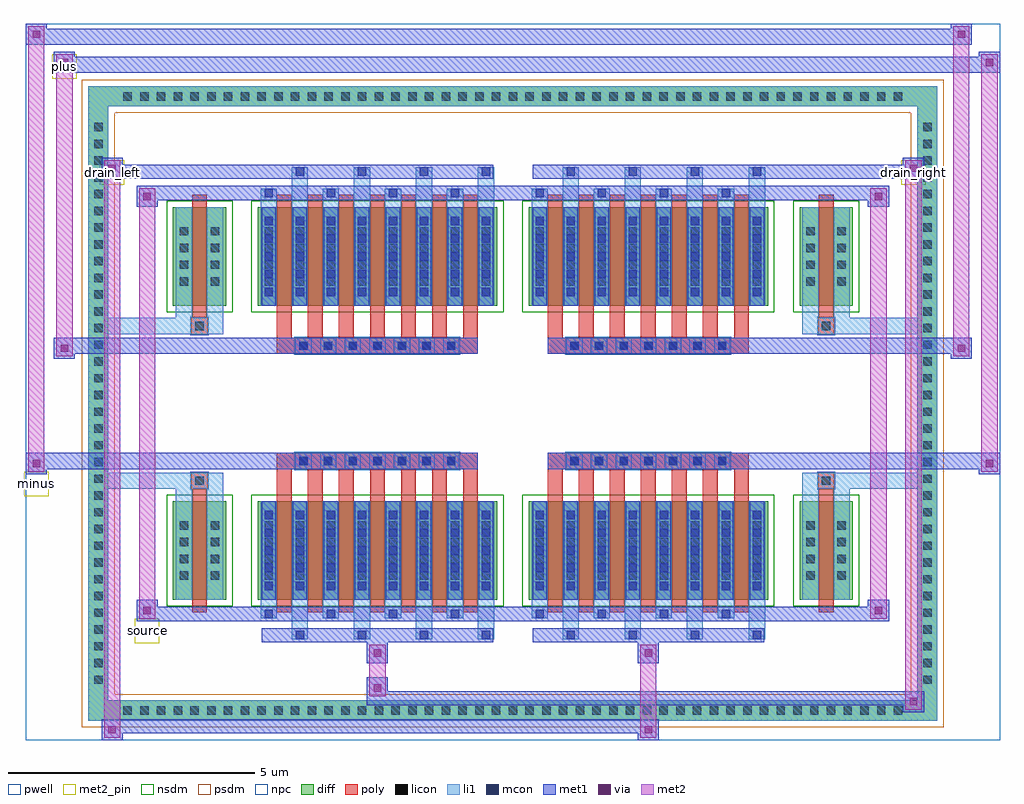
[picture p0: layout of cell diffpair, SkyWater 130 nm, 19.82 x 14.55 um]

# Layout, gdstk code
import gdstk
lib = gdstk.Library(unit=1e-6, precision=5e-09)
def R(c, l, rs):  # rectangles x0, y0, x1, y1
    for r in rs: c.add(gdstk.rectangle(r[:2], r[2:], *l))
def A(c, l, x, y, w, h, nx, ny, dx, dy):  # array of equal rectangles
    R(c, l, [(x+i*dx, y+j*dy, x+i*dx+w, y+j*dy+h) for i in range(nx) for j in range(ny)])
def P(c, l, *ps):  # polygons
    for p in ps: c.add(gdstk.Polygon(p, *l))
pwell = (64, 44)
diff = (65, 20)
poly = (66, 20)
licon = (66, 44)
li1 = (67, 20)
mcon = (67, 44)
met1 = (68, 20)
via = (68, 44)
met2_pin = (69, 16)
met2 = (69, 20)
nsdm = (93, 44)
psdm = (94, 20)
npc = (95, 20)

diffpair = lib.new_cell('diffpair')
R(diffpair, pwell, [(-9.89,-6.84,9.89,7.71), (-7.21,-5.03,-0.01,-0.805), (0.01,-5.03,7.21,-0.805), (-7.21,0.805,-0.01,5.03), (0.01,0.805,7.21,5.03)])
A(diffpair, diff, -8.025, -6.44, 0.41, 0.41, 47, 2, 0.34, 12.47)
A(diffpair, diff, -8.62, -5.815, 0.41, 0.41, 1, 34, 0, 0.34)
A(diffpair, diff, 8.21, -5.815, 0.41, 0.41, 1, 34, 0, 0.34)
R(diffpair, diff, [(-8.025,-6.44,8.025,-6.03), (-8.62,-5.815,-8.21,5.815), (8.21,-5.815,8.62,5.815), (-6.9,-3.985,-5.82,-1.985), (-5.18,-3.985,-0.32,-1.985), (0.32,-3.985,5.18,-1.985), (5.82,-3.985,6.9,-1.985), (-6.9,1.985,-5.82,3.985), (-5.18,1.985,-0.32,3.985), (0.32,1.985,5.18,3.985), (5.82,1.985,6.9,3.985), (-8.025,6.03,8.025,6.44)])
P(diffpair, diff, [(8.62,6.44),(-8.62,6.44),(-8.62,-6.03),(-8.21,-6.03),(-8.21,6.03),(8.21,6.03),(8.21,-6.03),(-8.21,-6.03),(-8.62,-6.03),(-8.62,-6.44),(8.62,-6.44)])
A(diffpair, poly, -4.79, -4.235, 0.3, 2.5, 7, 2, 0.63, 5.97)
A(diffpair, poly, 0.71, -4.235, 0.3, 2.5, 7, 2, 0.63, 5.97)
A(diffpair, poly, -4.79, -1.735, 0.3, 0.4, 7, 2, 0.63, 3.07)
A(diffpair, poly, 0.71, -1.735, 0.3, 0.4, 7, 2, 0.63, 3.07)
A(diffpair, poly, -4.415, -1.335, 0.33, 0.33, 7, 2, 0.5, 2.34)
A(diffpair, poly, 1.085, -1.335, 0.33, 0.33, 7, 2, 0.5, 2.34)
R(diffpair, poly, [(-6.51,-4.235,-6.21,-1.735), (6.21,-4.235,6.51,-1.735), (-6.525,-1.735,-6.195,-1.405), (-6.525,-1.735,-6.195,-1.405), (6.195,-1.735,6.525,-1.405), (6.195,-1.735,6.525,-1.405), (-4.79,-1.335,-0.71,-1.005), (0.71,-1.335,4.79,-1.005), (-4.79,1.005,-0.71,1.335), (0.71,1.005,4.79,1.335), (-6.525,1.405,-6.195,1.735), (-6.525,1.405,-6.195,1.735), (6.195,1.405,6.525,1.735), (6.195,1.405,6.525,1.735), (-6.51,1.735,-6.21,4.235), (6.21,1.735,6.51,4.235)])
A(diffpair, licon, -7.905, -6.32, 0.17, 0.17, 47, 2, 0.34, 12.47)
A(diffpair, licon, -8.5, -5.695, 0.17, 0.17, 1, 34, 0, 0.34)
A(diffpair, licon, 8.33, -5.695, 0.17, 0.17, 1, 34, 0, 0.34)
A(diffpair, licon, -6.76, -3.58, 0.17, 0.17, 1, 4, 0, 0.34)
A(diffpair, licon, -6.13, -3.58, 0.17, 0.17, 1, 4, 0, 0.34)
A(diffpair, licon, -5.04, -3.58, 0.17, 0.17, 8, 4, 0.63, 0.34)
A(diffpair, licon, 0.46, -3.58, 0.17, 0.17, 8, 4, 0.63, 0.34)
A(diffpair, licon, 5.96, -3.58, 0.17, 0.17, 1, 4, 0, 0.34)
A(diffpair, licon, 6.59, -3.58, 0.17, 0.17, 1, 4, 0, 0.34)
A(diffpair, licon, -4.335, -1.255, 0.17, 0.17, 7, 2, 0.5, 2.34)
A(diffpair, licon, 1.165, -1.255, 0.17, 0.17, 7, 2, 0.5, 2.34)
A(diffpair, licon, -6.76, 2.39, 0.17, 0.17, 1, 4, 0, 0.34)
A(diffpair, licon, -6.13, 2.39, 0.17, 0.17, 1, 4, 0, 0.34)
A(diffpair, licon, -5.04, 2.39, 0.17, 0.17, 8, 4, 0.63, 0.34)
A(diffpair, licon, 0.46, 2.39, 0.17, 0.17, 8, 4, 0.63, 0.34)
A(diffpair, licon, 5.96, 2.39, 0.17, 0.17, 1, 4, 0, 0.34)
A(diffpair, licon, 6.59, 2.39, 0.17, 0.17, 1, 4, 0, 0.34)
R(diffpair, licon, [(-6.445,-1.655,-6.275,-1.485), (6.275,-1.655,6.445,-1.485), (-6.445,1.485,-6.275,1.655), (6.275,1.485,6.445,1.655)])
A(diffpair, li1, -7.985, -6.4, 0.33, 0.33, 47, 2, 0.34, 12.47)
A(diffpair, li1, -8.58, -5.775, 0.33, 0.33, 1, 34, 0, 0.34)
A(diffpair, li1, 8.25, -5.775, 0.33, 0.33, 1, 34, 0, 0.34)
A(diffpair, li1, -4.49, -4.79, 0.33, 0.805, 4, 2, 1.26, 8.775)
A(diffpair, li1, -4.41, -4.79, 0.17, 0.17, 4, 2, 1.26, 9.41)
A(diffpair, li1, 1.01, -4.79, 0.33, 0.805, 4, 2, 1.26, 8.775)
A(diffpair, li1, 1.09, -4.79, 0.17, 0.17, 4, 2, 1.26, 9.41)
A(diffpair, li1, -5.12, -4.36, 0.33, 0.375, 4, 2, 1.26, 8.345)
A(diffpair, li1, -5.04, -4.36, 0.17, 0.17, 4, 2, 1.26, 8.55)
A(diffpair, li1, 0.38, -4.36, 0.33, 0.375, 4, 2, 1.26, 8.345)
A(diffpair, li1, 0.46, -4.36, 0.17, 0.17, 4, 2, 1.26, 8.55)
A(diffpair, li1, -5.12, -3.985, 0.33, 2, 8, 2, 0.63, 5.97)
A(diffpair, li1, 0.38, -3.985, 0.33, 2, 8, 2, 0.63, 5.97)
A(diffpair, li1, -5.04, -3.79, 0.17, 0.17, 8, 5, 0.63, 0.36)
A(diffpair, li1, -5.04, -3.79, 0.17, 1.61, 8, 2, 0.63, 5.97)
A(diffpair, li1, 0.46, -3.79, 0.17, 0.17, 8, 5, 0.63, 0.36)
A(diffpair, li1, 0.46, -3.79, 0.17, 1.61, 8, 2, 0.63, 5.97)
A(diffpair, li1, -6.84, -3.66, 0.33, 0.33, 1, 4, 0, 0.34)
A(diffpair, li1, -6.21, -3.66, 0.33, 0.33, 1, 4, 0, 0.34)
A(diffpair, li1, -5.12, -3.66, 0.33, 0.33, 8, 4, 0.63, 0.34)
A(diffpair, li1, 0.38, -3.66, 0.33, 0.33, 8, 4, 0.63, 0.34)
A(diffpair, li1, 5.88, -3.66, 0.33, 0.33, 1, 4, 0, 0.34)
A(diffpair, li1, 6.51, -3.66, 0.33, 0.33, 1, 4, 0, 0.34)
A(diffpair, li1, -4.415, -1.335, 0.33, 0.33, 7, 2, 0.5, 2.34)
A(diffpair, li1, 1.085, -1.335, 0.33, 0.33, 7, 2, 0.5, 2.34)
A(diffpair, li1, -5.04, 2.18, 0.17, 0.17, 8, 5, 0.63, 0.36)
A(diffpair, li1, 0.46, 2.18, 0.17, 0.17, 8, 5, 0.63, 0.36)
A(diffpair, li1, -6.84, 2.31, 0.33, 0.33, 1, 4, 0, 0.34)
A(diffpair, li1, -6.21, 2.31, 0.33, 0.33, 1, 4, 0, 0.34)
A(diffpair, li1, -5.12, 2.31, 0.33, 0.33, 8, 4, 0.63, 0.34)
A(diffpair, li1, 0.38, 2.31, 0.33, 0.33, 8, 4, 0.63, 0.34)
A(diffpair, li1, 5.88, 2.31, 0.33, 0.33, 1, 4, 0, 0.34)
A(diffpair, li1, 6.51, 2.31, 0.33, 0.33, 1, 4, 0, 0.34)
R(diffpair, li1, [(-8.62,-6.44,-8.21,-6.03), (-8.62,-6.44,-8.21,-6.03), (-8.21,-6.44,8.21,-6.03), (8.21,-6.44,8.62,-6.03), (8.21,-6.44,8.62,-6.03), (-8.62,-6.03,-8.21,6.03), (8.21,-6.03,8.62,6.03), (-6.84,-3.985,-6.51,-1.985), (-6.21,-3.985,-5.88,-1.985), (5.88,-3.985,6.21,-1.985), (6.51,-3.985,6.84,-1.985), (-6.84,-1.985,-6.51,-1.405), (-6.21,-1.985,-5.88,-1.405), (5.88,-1.985,6.21,-1.405), (6.51,-1.985,6.84,-1.405), (-8.62,-1.735,-6.525,-1.405), (-6.84,-1.735,-6.525,-1.405), (-6.525,-1.735,-6.195,-1.405), (-6.195,-1.735,-5.88,-1.405), (5.88,-1.735,6.195,-1.405), (6.195,-1.735,6.525,-1.405), (6.195,-1.735,8.62,-1.405), (6.525,-1.735,6.84,-1.405), (-8.62,1.405,-6.525,1.735), (-6.84,1.405,-6.525,1.735), (-6.84,1.405,-6.51,1.985), (-6.525,1.405,-6.195,1.735), (-6.21,1.405,-5.88,1.985), (-6.195,1.405,-5.88,1.735), (5.88,1.405,6.195,1.735), (5.88,1.405,6.21,1.985), (6.195,1.405,6.525,1.735), (6.195,1.405,8.62,1.735), (6.51,1.405,6.84,1.985), (6.525,1.405,6.84,1.735), (-6.84,1.985,-6.51,3.985), (-6.21,1.985,-5.88,3.985), (5.88,1.985,6.21,3.985), (6.51,1.985,6.84,3.985), (-8.62,6.03,-8.21,6.44), (-8.62,6.03,-8.21,6.44), (-8.21,6.03,8.21,6.44), (8.21,6.03,8.62,6.44), (8.21,6.03,8.62,6.44)])
A(diffpair, mcon, -4.41, -4.79, 0.17, 0.17, 4, 2, 1.26, 9.41)
A(diffpair, mcon, 1.09, -4.79, 0.17, 0.17, 4, 2, 1.26, 9.41)
A(diffpair, mcon, -5.04, -4.36, 0.17, 0.17, 4, 2, 1.26, 8.55)
A(diffpair, mcon, 0.46, -4.36, 0.17, 0.17, 4, 2, 1.26, 8.55)
A(diffpair, mcon, -5.04, -3.79, 0.17, 0.17, 8, 5, 0.63, 0.36)
A(diffpair, mcon, 0.46, -3.79, 0.17, 0.17, 8, 5, 0.63, 0.36)
A(diffpair, mcon, -4.335, -1.255, 0.17, 0.17, 7, 2, 0.5, 2.34)
A(diffpair, mcon, 1.165, -1.255, 0.17, 0.17, 7, 2, 0.5, 2.34)
A(diffpair, mcon, -5.04, 2.18, 0.17, 0.17, 8, 5, 0.63, 0.36)
A(diffpair, mcon, 0.46, 2.18, 0.17, 0.17, 8, 5, 0.63, 0.36)
A(diffpair, met1, -4.47, -4.85, 0.29, 0.29, 4, 2, 1.26, 9.41)
A(diffpair, met1, 1.03, -4.85, 0.29, 0.29, 4, 2, 1.26, 9.41)
A(diffpair, met1, -5.1, -4.42, 0.29, 0.29, 4, 2, 1.26, 8.55)
A(diffpair, met1, 0.4, -4.42, 0.29, 0.29, 4, 2, 1.26, 8.55)
A(diffpair, met1, -5.1, -3.985, 0.29, 2, 8, 2, 0.63, 5.97)
A(diffpair, met1, 0.4, -3.985, 0.29, 2, 8, 2, 0.63, 5.97)
A(diffpair, met1, -5.1, -3.85, 0.29, 0.29, 8, 5, 0.63, 0.36)
A(diffpair, met1, 0.4, -3.85, 0.29, 0.29, 8, 5, 0.63, 0.36)
A(diffpair, met1, -4.395, -1.315, 0.29, 0.29, 7, 2, 0.5, 2.34)
A(diffpair, met1, 1.105, -1.315, 0.29, 0.29, 7, 2, 0.5, 2.34)
A(diffpair, met1, -5.1, 2.12, 0.29, 0.29, 8, 5, 0.63, 0.36)
A(diffpair, met1, 0.4, 2.12, 0.29, 0.29, 8, 5, 0.63, 0.36)
R(diffpair, met1, [(-8.35,-6.84,-7.92,-6.41), (2.535,-6.84,2.965,-6.41), (-8.35,-6.7,2.965,-6.41), (7.92,-6.27,8.35,-5.84), (-2.965,-6.13,8.35,-5.84), (-2.965,-5.99,-2.535,-5.56), (-2.965,-5.28,-2.535,-4.85), (2.535,-5.28,2.965,-4.85), (-5.1,-4.85,-0.4,-4.56), (0.4,-4.85,5.1,-4.56), (-7.64,-4.42,-7.21,-3.99), (-7.64,-4.42,-5.1,-4.13), (-5.1,-4.42,-0.4,-4.13), (-0.4,-4.42,0.4,-4.13), (0.4,-4.42,5.1,-4.13), (5.1,-4.42,7.64,-4.13), (7.21,-4.42,7.64,-3.99), (-9.89,-1.435,-9.46,-1.005), (9.46,-1.435,9.89,-1.005), (-9.89,-1.335,-0.71,-1.005), (-4.79,-1.335,-0.71,-1.005), (0.71,-1.335,4.79,-1.005), (0.71,-1.335,9.89,-1.005), (-9.32,0.905,-8.89,1.335), (8.89,0.905,9.32,1.335), (-9.32,1.005,-4.79,1.335), (-4.79,1.005,-0.71,1.335), (0.71,1.005,4.79,1.335), (4.79,1.005,9.32,1.335), (-7.64,3.99,-7.21,4.42), (7.21,3.99,7.64,4.42), (-7.64,4.13,-5.1,4.42), (-5.1,4.13,-0.4,4.42), (-0.4,4.13,0.4,4.42), (0.4,4.13,5.1,4.42), (5.1,4.13,7.64,4.42), (-8.35,4.56,-7.92,4.99), (-8.35,4.56,-5.1,4.85), (-5.1,4.56,-0.4,4.85), (0.4,4.56,5.1,4.85), (5.1,4.56,8.35,4.85), (7.92,4.56,8.35,4.99), (-9.32,6.71,-8.89,7.14), (-9.32,6.71,-7.21,7.04), (-7.21,6.71,7.21,7.04), (7.21,6.71,9.89,7.04), (9.46,6.71,9.89,7.14), (-9.89,7.28,-9.46,7.71), (-9.89,7.28,-7.21,7.61), (-7.21,7.28,7.21,7.61), (7.21,7.28,9.32,7.61), (8.89,7.28,9.32,7.71)])
R(diffpair, via, [(-8.21,-6.7,-8.06,-6.55), (2.675,-6.7,2.825,-6.55), (8.06,-6.13,8.21,-5.98), (-2.825,-5.85,-2.675,-5.7), (-2.825,-5.14,-2.675,-4.99), (2.675,-5.14,2.825,-4.99), (-7.5,-4.28,-7.35,-4.13), (7.35,-4.28,7.5,-4.13), (-9.75,-1.295,-9.6,-1.145), (9.6,-1.295,9.75,-1.145), (-9.18,1.045,-9.03,1.195), (9.03,1.045,9.18,1.195), (-7.5,4.13,-7.35,4.28), (7.35,4.13,7.5,4.28), (-8.21,4.7,-8.06,4.85), (8.06,4.7,8.21,4.85), (-9.18,6.85,-9.03,7), (9.6,6.85,9.75,7), (-9.75,7.42,-9.6,7.57), (9.03,7.42,9.18,7.57)])
R(diffpair, met2_pin, [(-7.675,-4.87,-7.175,-4.37), (-9.925,-1.885,-9.425,-1.385), (-8.385,4.44,-7.885,4.94), (7.885,4.44,8.385,4.94), (-9.355,6.59,-8.855,7.09)])
R(diffpair, met2, [(-8.3,-6.79,-7.97,-6.46), (-8.3,-6.79,-7.97,4.94), (2.585,-6.79,2.915,-6.46), (2.585,-6.46,2.915,-5.23), (7.97,-6.22,8.3,-5.89), (7.97,-6.22,8.3,4.94), (-2.915,-5.94,-2.585,-5.61), (-2.915,-5.61,-2.585,-5.23), (-2.915,-5.23,-2.585,-4.9), (2.585,-5.23,2.915,-4.9), (-7.59,-4.37,-7.26,-4.04), (-7.59,-4.37,-7.26,4.37), (7.26,-4.37,7.59,-4.04), (7.26,-4.37,7.59,4.37), (-9.84,-1.385,-9.51,-1.055), (-9.84,-1.385,-9.51,7.66), (9.51,-1.385,9.84,-1.055), (9.51,-1.385,9.84,7.09), (-9.27,0.955,-8.94,1.285), (-9.27,0.955,-8.94,7.09), (8.94,0.955,9.27,1.285), (8.94,0.955,9.27,7.66), (-7.59,4.04,-7.26,4.37), (7.26,4.04,7.59,4.37), (-8.3,4.61,-7.97,4.94), (7.97,4.61,8.3,4.94), (-9.27,6.76,-8.94,7.09), (9.51,6.76,9.84,7.09), (-9.84,7.33,-9.51,7.66), (8.94,7.33,9.27,7.66)])
P(diffpair, met2, [(9.84,-1.385),(9.84,-1.385),(9.84,-1.055),(9.84,-1.055)],
  [(9.84,6.76),(9.84,6.76),(9.84,7.09),(9.84,7.09)],
  [(-9.51,-1.385),(-9.51,-1.385),(-9.51,-1.055),(-9.51,-1.055)],
  [(-9.51,7.33),(-9.51,7.33),(-9.51,7.66),(-9.51,7.66)],
  [(9.27,0.955),(9.27,0.955),(9.27,1.285),(9.27,1.285)],
  [(9.27,7.33),(9.27,7.33),(9.27,7.66),(9.27,7.66)],
  [(-8.94,0.955),(-8.94,0.955),(-8.94,1.285),(-8.94,1.285)],
  [(-8.94,6.76),(-8.94,6.76),(-8.94,7.09),(-8.94,7.09)],
  [(-7.97,-6.79),(-7.97,-6.79),(-7.97,-6.46),(-7.97,-6.46)],
  [(-7.97,4.61),(-7.97,4.61),(-7.97,4.94),(-7.97,4.94)],
  [(8.3,-6.22),(8.3,-6.22),(8.3,-5.89),(8.3,-5.89)],
  [(8.3,4.61),(8.3,4.61),(8.3,4.94),(8.3,4.94)],
  [(-7.26,-4.37),(-7.26,-4.37),(-7.26,-4.04),(-7.26,-4.04)],
  [(-7.26,4.04),(-7.26,4.04),(-7.26,4.37),(-7.26,4.37)],
  [(7.59,-4.37),(7.59,-4.37),(7.59,-4.04),(7.59,-4.04)],
  [(7.59,4.04),(7.59,4.04),(7.59,4.37),(7.59,4.37)])
R(diffpair, nsdm, [(-7.03,-4.115,-5.69,-1.855), (-5.31,-4.115,-0.19,-1.855), (0.19,-4.115,5.31,-1.855), (5.69,-4.115,7.03,-1.855), (-7.03,1.855,-5.69,4.115), (-5.31,1.855,-0.19,4.115), (0.19,1.855,5.31,4.115), (5.69,1.855,7.03,4.115)])
P(diffpair, psdm, [(8.75,6.57),(-8.75,6.57),(-8.75,-5.9),(-8.08,-5.9),(-8.08,5.9),(8.08,5.9),(8.08,-5.9),(-8.08,-5.9),(-8.75,-5.9),(-8.75,-6.57),(8.75,-6.57)])
A(diffpair, npc, -4.435, -1.355, 0.37, 0.37, 7, 2, 0.5, 2.34)
A(diffpair, npc, 1.065, -1.355, 0.37, 0.37, 7, 2, 0.5, 2.34)
R(diffpair, npc, [(-6.545,-1.755,-6.175,-1.385), (6.175,-1.755,6.545,-1.385), (-4.435,-1.355,-3.565,-0.985), (-4.435,-1.355,-3.565,-0.985), (-3.935,-1.355,-3.065,-0.985), (-3.935,-1.355,-3.065,-0.985), (-3.435,-1.355,-2.565,-0.985), (-3.435,-1.355,-2.565,-0.985), (-2.935,-1.355,-2.065,-0.985), (-2.935,-1.355,-2.065,-0.985), (-2.435,-1.355,-1.565,-0.985), (-2.435,-1.355,-1.565,-0.985), (-1.935,-1.355,-1.065,-0.985), (-1.935,-1.355,-1.065,-0.985), (1.065,-1.355,1.935,-0.985), (1.065,-1.355,1.935,-0.985), (1.565,-1.355,2.435,-0.985), (1.565,-1.355,2.435,-0.985), (2.065,-1.355,2.935,-0.985), (2.065,-1.355,2.935,-0.985), (2.565,-1.355,3.435,-0.985), (2.565,-1.355,3.435,-0.985), (3.065,-1.355,3.935,-0.985), (3.065,-1.355,3.935,-0.985), (3.565,-1.355,4.435,-0.985), (3.565,-1.355,4.435,-0.985), (-4.435,0.985,-3.565,1.355), (-4.435,0.985,-3.565,1.355), (-3.935,0.985,-3.065,1.355), (-3.935,0.985,-3.065,1.355), (-3.435,0.985,-2.565,1.355), (-3.435,0.985,-2.565,1.355), (-2.935,0.985,-2.065,1.355), (-2.935,0.985,-2.065,1.355), (-2.435,0.985,-1.565,1.355), (-2.435,0.985,-1.565,1.355), (-1.935,0.985,-1.065,1.355), (-1.935,0.985,-1.065,1.355), (1.065,0.985,1.935,1.355), (1.065,0.985,1.935,1.355), (1.565,0.985,2.435,1.355), (1.565,0.985,2.435,1.355), (2.065,0.985,2.935,1.355), (2.065,0.985,2.935,1.355), (2.565,0.985,3.435,1.355), (2.565,0.985,3.435,1.355), (3.065,0.985,3.935,1.355), (3.065,0.985,3.935,1.355), (3.565,0.985,4.435,1.355), (3.565,0.985,4.435,1.355), (-6.545,1.385,-6.175,1.755), (6.175,1.385,6.545,1.755)])
diffpair.add(gdstk.Label('minus', (-9.675,-1.635), layer=69, texttype=5))
diffpair.add(gdstk.Label('drain_right', (8.135,4.69), layer=69, texttype=5))
diffpair.add(gdstk.Label('drain_left', (-8.135,4.69), layer=69, texttype=5))
diffpair.add(gdstk.Label('source', (-7.425,-4.62), layer=69, texttype=5))
diffpair.add(gdstk.Label('plus', (-9.105,6.84), layer=69, texttype=5))

lib.write_gds('diffpair.gds')
